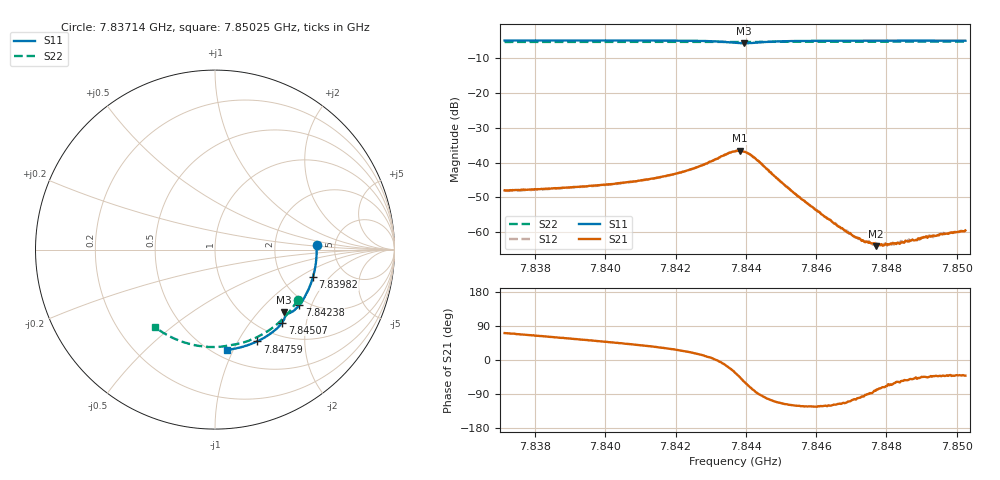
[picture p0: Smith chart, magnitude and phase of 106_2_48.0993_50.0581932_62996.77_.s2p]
#  HZ  S  RI  R  50.00
! Rohde & Schwarz Vector Network Analyzer
! Rohde-Schwarz,ZNB20-2Port,1311601062101988,3.16
! Created: UTC 12/23/2023, 3:45:16 AM
! freq[Hz]  re:S11  im:S11  re:S21  im:S21  re:S12  im:S12  re:S22  im:S22
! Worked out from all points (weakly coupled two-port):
!   401 points, 7.83714 GHz to 7.85025 GHz, reference 50 ohm
!   highest |S21| = -36.60 dB at 7.84382 GHz (marker M1); lowest = -64.0 dB at 7.84769 GHz (marker M2)
!   lowest |S11| = -5.7 dB at 7.84395 GHz (marker M3), VSWR 3.13, Z = 73 - j69.1 ohm
!   |S11| at or under -10 dB: nowhere
!   |S22| runs from -5.4 to -5.3 dB; largest |S21 - S12| = 0.00028
!   S11 on the Smith chart (normalised r, x): 7.83714 GHz: 3.59, +0.28; 7.83982 GHz: 2.97, -1.32; 7.84238 GHz: 1.81, -1.64; 7.84507 GHz: 1.25, -1.46; 7.84759 GHz: 0.81, -1.21; 7.85025 GHz: 0.58, -0.94
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7.837136e9  0.5655 0.0265  0.00129 0.00377  0.00131 0.00371  0.4623 -0.2783
7.839332e9  0.5543 -0.119  0.00269 0.00364  0.00264 0.0036  0.3659 -0.3978
7.839824e9  0.5464 -0.1512  0.00307 0.00359  0.00302 0.00357  0.3399 -0.4203
7.841528e9  0.5026 -0.2592  0.00511 0.00333  0.00508 0.00336  0.2397 -0.4854
7.84238e9  0.4688 -0.3104  0.00729 0.00284  0.00724 0.00284  0.1845 -0.509
7.843199e9  0.4204 -0.3519  0.0114 -0.000326  0.0114 -0.000438  0.129 -0.5249
7.843691e9  0.3859 -0.3541  0.012 -0.00799  0.0122 -0.00797  0.0963 -0.5304
7.843822e9  0.3817 -0.3504  0.0105 -0.0104  0.0104 -0.0103  0.0879 -0.5316
7.843953e9  0.3818 -0.3472  0.00767 -0.012  0.00786 -0.012  0.0795 -0.5331
7.844281e9  0.39 -0.3544  0.00101 -0.0113  0.00117 -0.0113  0.0585 -0.5372
7.845067e9  0.3746 -0.4062  -0.00211 -0.00446  -0.0021 -0.00451  0.00351 -0.5426
7.845887e9  0.3339 -0.4493  -0.00125 -0.00194  -0.00121 -0.00197  -0.0544 -0.5408
7.846575e9  0.2955 -0.4778  -0.000587 -0.00113  -0.000585 -0.00116  -0.1024 -0.5343
7.847066e9  0.2668 -0.4951  -0.000211 -0.000843  -0.000226 -0.000858  -0.136 -0.5271
7.847361e9  0.2492 -0.5045  -7.69e-05 -0.000729  -5.05e-05 -0.000736  -0.156 -0.5218
7.847591e9  0.2352 -0.5115  3.44e-05 -0.000688  5.65e-05 -0.000671  -0.1714 -0.517
7.847689e9  0.2291 -0.5141  9.47e-05 -0.000627  0.000133 -0.000687  -0.1779 -0.5148
7.848082e9  0.2048 -0.5243  0.000263 -0.000608  0.000275 -0.000587  -0.2041 -0.5053
7.848443e9  0.1821 -0.5327  0.000409 -0.000587  0.000415 -0.000607  -0.2273 -0.4956
7.849066e9  0.1422 -0.5446  0.000612 -0.000594  0.0006 -0.000601  -0.2661 -0.4761
7.849557e9  0.1103 -0.5518  0.00069 -0.000638  0.000696 -0.000652  -0.296 -0.4586
7.850245e9  0.0651 -0.5587  0.000794 -0.000698  0.000788 -0.000723  -0.3354 -0.431
